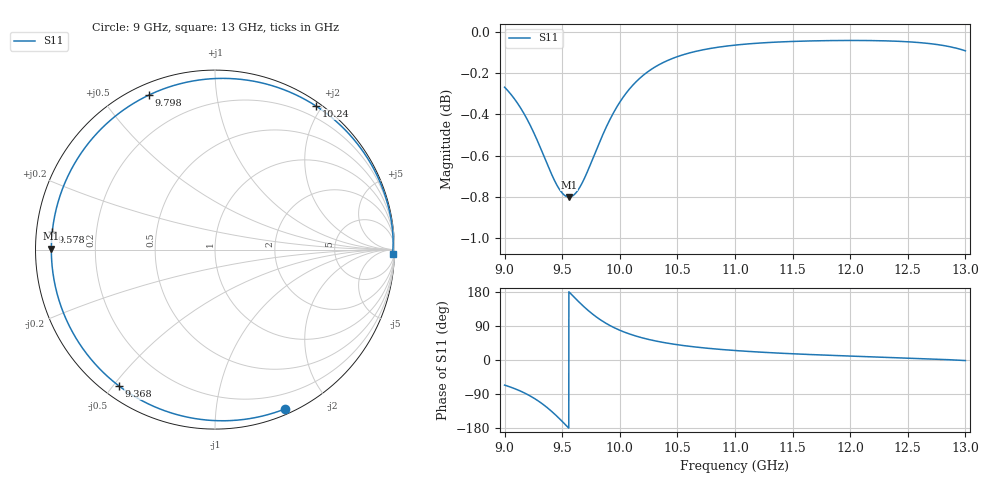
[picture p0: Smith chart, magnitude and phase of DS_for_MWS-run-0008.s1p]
! TOUCHSTONE file generated by CST DESIGN STUDIO
! Date and time: Tue Feb  4 16:14:30 2025
! Project name: C:\Work\MatlabApps\UnitCellOptimizationMatlab\CST\unitcell.cst
! Tree item: Tasks\Sweep1\SPara1\S-Parameters
! Header version: 2024
! Port assignment regex: !\s*Touchstone port\s*([0-9]+)\s*=\s*(CST MWS port|CST DES external port|CST DES block port)\s*(.+)\s* \(\"(.*)\"\)(\s*mode\s*([0-9]+))?.*
! Touchstone port assignment:
! Touchstone port 1 = CST DES external port 1 ("")
# GHz S MA R 50
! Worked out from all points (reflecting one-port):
!   4001 points, 9 GHz to 13 GHz, reference 50 ohm
!   lowest |S11| = -0.8 dB at 9.559 GHz (marker M1), VSWR 21.69, Z = 2.31 + j0.149 ohm
!   phase of S11 starts at -66 deg and turns -295 deg over the sweep
!   S11 on the Smith chart (normalised r, x): 9 GHz: 0.05, -1.53; 9.368 GHz: 0.05, -0.52; 9.578 GHz: 0.05, +0.05; 9.798 GHz: 0.05, +0.66; 10.24 GHz: 0.05, +1.92; 13 GHz: 27, -67
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9  0.9697 -66.2
9.042  0.9668 -70.5
9.108  0.9614 -78.1
9.221  0.9494 -94.7
9.299  0.939 -109.5
9.368  0.9291 -125.2
9.432  0.9205 -142.1
9.5  0.9139 -162.0
9.53  0.9124 -171.3
9.559  0.9119 179.7
9.578  0.9121 173.7
9.632  0.915 157.1
9.693  0.9215 139.4
9.745  0.9286 125.7
9.798  0.9364 113.2
9.841  0.9426 104.2
9.888  0.949 95.4
10  0.9616 78.5
10.113  0.9708 65.7
10.241  0.978 54.9
10.361  0.9826 47.3
10.5  0.9864 40.3
10.721  0.9901 32.2
11  0.9928 25.0
11.5  0.9948 16.4
12  0.9954 10.4
12.5  0.9946 5.1
13  0.9896 -1.5
